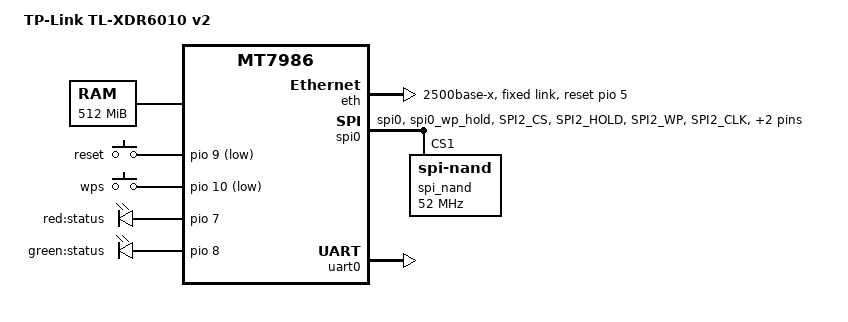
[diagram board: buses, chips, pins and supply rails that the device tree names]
// SPDX-License-Identifier: GPL-2.0
// TP-Link TL-XDR6010 v2  (MediaTek MT7986B, SPI-NAND 128MB)
// U-Boot device tree for bl-mt798x-dhcpd
// ubi = 0x600000..0x8000000 (124928k), merged ubi + reserved

/dts-v1/;
#include "mt7986.dtsi"
#include <dt-bindings/gpio/gpio.h>

/ {
	#address-cells = <1>;
	#size-cells = <1>;
	model = "TP-Link TL-XDR6010 v2";
	compatible = "tplink,tl-xdr6010-v2", "mediatek,mt7986";

	chosen {
		stdout-path = &uart0;
		tick-timer = &timer0;
	};

	config {
		bootcmd = "mtkboardboot";
		blink_led = "green:status";
		system_led = "red:status";
	};

	memory@40000000 {
		device_type = "memory";
		reg = <0x40000000 0x20000000>;
	};

	gpio-keys {
		compatible = "gpio-keys";

		button-reset {
			label = "reset";
			linux,code = <KEY_RESTART>;
			gpios = <&pio 9 GPIO_ACTIVE_LOW>;
		};

		button-wps {
			label = "wps";
			linux,code = <BTN_2>;
			gpios = <&pio 10 GPIO_ACTIVE_LOW>;
		};
	};

	gpio-leds {
		compatible = "gpio-leds";

		led_status_red: led-0 {
			label = "red:status";
			gpios = <&pio 7 GPIO_ACTIVE_HIGH>;
		};

		led_status_green: led-1 {
			label = "green:status";
			gpios = <&pio 8 GPIO_ACTIVE_HIGH>;
		};
	};

	bl2_verify {
		bl2_compatible = "spim-nand";
	};

	/* Multi MTD layout (CONFIG_MEDIATEK_MULTI_MTD_LAYOUT) */
	mtd-layout {
		layout@0 {
			label = "default";
			/* stock TP-Link layout: ubi + reserved separate */
			cmdline = "console=ttyS0,115200n8 loglevel=8";
			mtdids = "spi-nand0=spi-nand0";
			mtdparts = "spi-nand0:1024k(bl2),512k(u-boot-env),256k(factory),1792k(tp_data),2560k(fip),65536k(ubi),59392k(reserved)";
			boot_part = "ubi";
			factory_part = "ubi";
			sysupgrade_kernel_ubipart = "ubi";
			sysupgrade_rootfs_ubipart = "ubi";
		};

		layout@1 {
			label = "immortalwrt-122m";
			/* ubi + reserved merged into one 122M ubi */
			mtdids = "spi-nand0=spi-nand0";
			mtdparts = "spi-nand0:1024k(bl2),512k(u-boot-env),256k(factory),1792k(tp_data),2560k(fip),124928k(ubi)";
			boot_part = "ubi";
			factory_part = "ubi";
			sysupgrade_kernel_ubipart = "ubi";
			sysupgrade_rootfs_ubipart = "ubi";
		};
	};
};

&eth {
	status = "okay";
	mediatek,gmac-id = <0>;
	phy-mode = "2500base-x";
	mediatek,switch = "auto";
	reset-gpios = <&pio 5 GPIO_ACTIVE_HIGH>;

	fixed-link {
		speed = <2500>;
		full-duplex;
	};
};

&pio {
	spi_flash_pins: spi0-pins-func-1 {
		mux {
			function = "flash";
			groups = "spi0", "spi0_wp_hold";
		};

		conf-pu {
			pins = "SPI2_CS", "SPI2_HOLD", "SPI2_WP";
			drive-strength = <MTK_DRIVE_4mA>;
			bias-pull-up = <MTK_PUPD_SET_R1R0_00>;
		};

		conf-pd {
			pins = "SPI2_CLK", "SPI2_MOSI", "SPI2_MISO";
			drive-strength = <MTK_DRIVE_4mA>;
			bias-pull-down = <MTK_PUPD_SET_R1R0_00>;
		};
	};
};

&spi0 {
	#address-cells = <1>;
	#size-cells = <0>;
	pinctrl-names = "default";
	pinctrl-0 = <&spi_flash_pins>;
	status = "okay";
	must_tx;
	enhance_timing;
	dma_ext;
	ipm_design;
	support_quad;
	tick_dly = <2>;
	sample_sel = <0>;

	spi_nand@0 {
		compatible = "spi-nand";
		reg = <1>;
		spi-max-frequency = <52000000>;
	};
};

&uart0 {
	status = "okay";
};

&watchdog {
	status = "disabled";
};
